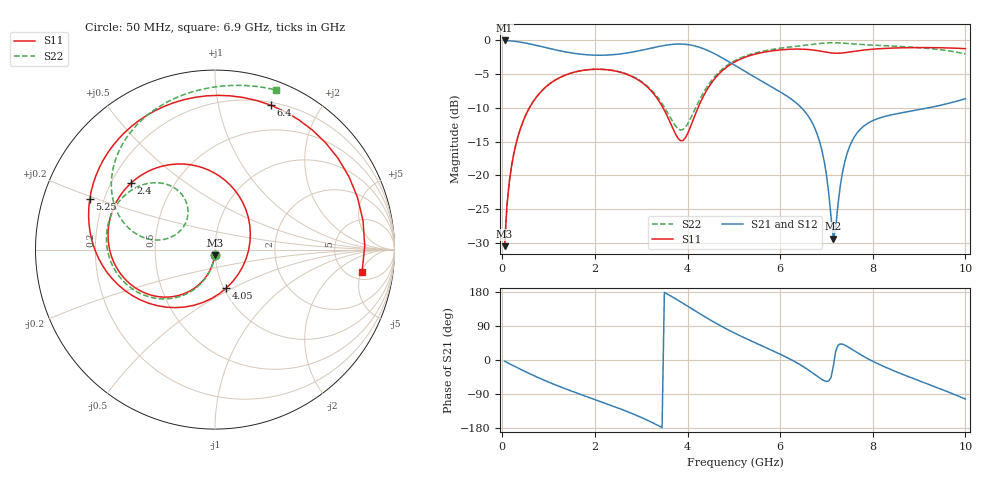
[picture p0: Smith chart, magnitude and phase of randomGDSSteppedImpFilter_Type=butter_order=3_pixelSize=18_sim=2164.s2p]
! freq	dB(S11)	phase(S11)	dB(S12)	phase(S12)
!  dB(S21)	phase(S21)	dB(S22)	phase(S22)
!S-par simulation data
#  GHz  S  DB  R 50
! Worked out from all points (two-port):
!   200 points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, 50 MHz to 10 GHz, reference 50 ohm
!   highest |S21| = -0.01 dB at 50 MHz (marker M1); lowest = -29.4 dB at 7.15 GHz (marker M2)
!   |S21| within 3 dB of the highest: start of sweep to 4.855 GHz
!   lowest |S11| = -30.5 dB at 50 MHz (marker M3), VSWR 1.06, Z = 49.7 - j2.97 ohm
!   |S11| at or under -10 dB: start of sweep to 585.9 MHz; 3.471 GHz to 4.225 GHz (754.1 MHz wide, 19.6 % of centre)
!   |S22| runs from -30.5 to -0.3 dB; largest |S21 - S12| = 0
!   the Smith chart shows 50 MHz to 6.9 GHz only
!   S11 on the Smith chart (normalised r, x): 50 MHz: 0.99, -0.06; 2.4 GHz: 0.28, +0.32; 4.05 GHz: 1.03, -0.46; 5.25 GHz: 0.15, +0.19; 6.4 GHz: 0.23, +1.43; 6.9 GHz: 6.40, -5.19
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0.05  -30.48 -93.4  -0.01 -3.2  -0.01 -3.2  -30.48 -93.3
0.2  -18.59 -103.4  -0.08 -12.6  -0.08 -12.6  -18.59 -102.9
0.5  -11.17 -122.0  -0.39 -30.9  -0.39 -30.9  -11.17 -120.8
1.05  -6.30 -152.8  -1.25 -60.9  -1.25 -60.9  -6.29 -149.8
1.75  -4.43 173.0  -2.08 -93.4  -2.08 -93.4  -4.42 179.2
2.4  -4.48 141.6  -2.11 -122.1  -2.11 -122.1  -4.46 153.7
3.4  -9.17 71.4  -0.88 -175.1  -0.88 -175.1  -8.86 121.1
3.85  -14.86 -16.0  -0.54 153.6  -0.54 153.6  -13.28 143.8
4.05  -13.03 -73.4  -0.66 138.5  -0.66 138.5  -11.78 164.8
4.5  -6.46 -141.0  -1.69 104.9  -1.69 104.9  -6.11 166.1
5.05  -3.08 172.3  -3.80 69.0  -3.80 69.0  -2.90 142.9
5.25  -2.47 158.2  -4.62 57.3  -4.62 57.3  -2.31 134.2
5.8  -1.57 120.6  -6.81 26.7  -6.81 26.7  -1.37 111.7
6.4  -1.29 68.9  -9.58 -10.2  -9.58 -10.2  -0.83 88.7
6.7  -1.41 28.6  -12.30 -33.9  -12.30 -33.9  -0.58 77.1
6.9  -1.63 -8.8  -16.25 -51.2  -16.25 -51.2  -0.43 69.0
7.15  -1.89 -66.6  -29.38 -14.8  -29.38 -14.8  -0.35 58.1
7.35  -1.85 -112.3  -19.41 41.6  -19.41 41.6  -0.41 49.5
7.65  -1.57 -164.4  -13.81 20.3  -13.81 20.3  -0.56 37.4
8.35  -1.16 130.1  -11.11 -23.0  -11.11 -23.0  -0.82 9.6
9.2  -1.07 85.5  -9.99 -64.0  -9.99 -64.0  -1.19 -27.8
10  -1.22 53.0  -8.64 -103.0  -8.64 -103.0  -2.01 -72.2
